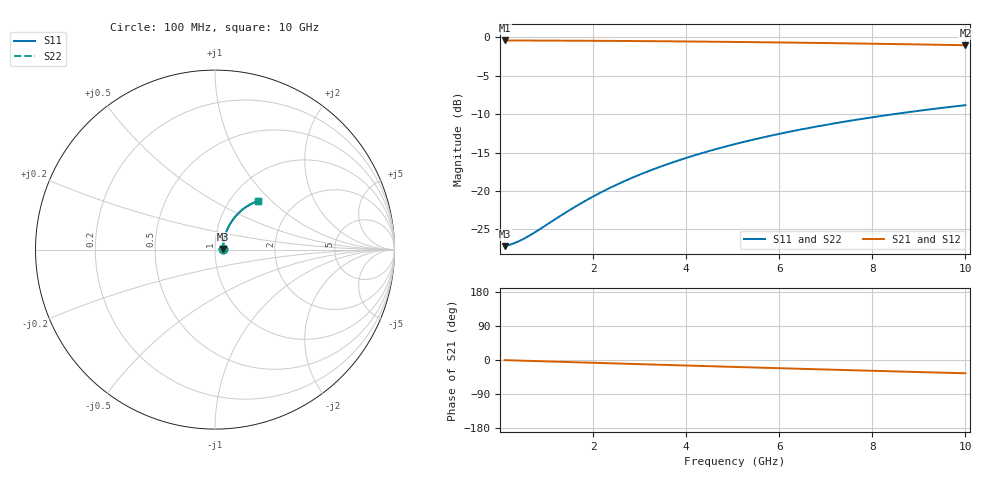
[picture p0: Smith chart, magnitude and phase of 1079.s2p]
# Hz S RI R 50.00
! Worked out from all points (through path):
!   100 points, 100 MHz to 10 GHz, reference 50 ohm
!   highest |S21| = -0.39 dB at 100 MHz (marker M1); lowest = -1.0 dB at 10 GHz (marker M2)
!   group delay of S21, straight-line fit = 9.76 ps
!   lowest |S11| = -27.2 dB at 100 MHz (marker M3), VSWR 1.09, Z = 54.5 + j0.41 ohm
!   |S11| at or under -10 dB: start of sweep to 8.452 GHz
!   |S22| runs from -27.2 to -8.8 dB; largest |S21 - S12| = 0
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1e8  0.0435 0.00375  0.9565 -0.00614  0.9565 -0.00614  0.0435 0.00375
2e8  0.0439 0.0075  0.9561 -0.0123  0.9561 -0.0123  0.0439 0.0075
3e8  0.0442 0.0112  0.9558 -0.0184  0.9558 -0.0184  0.0442 0.0112
4e8  0.0445 0.015  0.9554 -0.0245  0.9554 -0.0245  0.0445 0.015
6e8  0.0453 0.0224  0.9546 -0.0367  0.9546 -0.0367  0.0453 0.0224
8e8  0.0462 0.0299  0.9536 -0.0489  0.9536 -0.0489  0.0462 0.0299
1.4e9  0.0498 0.052  0.9496 -0.0854  0.9496 -0.0854  0.0498 0.052
1.8e9  0.0531 0.0665  0.946 -0.1094  0.946 -0.1094  0.0531 0.0665
2.2e9  0.0571 0.0808  0.9415 -0.1333  0.9415 -0.1333  0.0571 0.0808
2.6e9  0.0617 0.0949  0.9363 -0.1569  0.9363 -0.1569  0.0617 0.0949
3e9  0.0671 0.1086  0.9302 -0.1802  0.9302 -0.1802  0.0671 0.1086
3.4e9  0.0731 0.122  0.9235 -0.2032  0.9235 -0.2032  0.0731 0.122
3.8e9  0.0798 0.1351  0.916 -0.2258  0.916 -0.2258  0.0798 0.1351
4.2e9  0.087 0.1477  0.9078 -0.248  0.9078 -0.248  0.087 0.1477
4.6e9  0.0949 0.1599  0.8989 -0.2697  0.8989 -0.2697  0.0949 0.1599
5.1e9  0.1054 0.1744  0.8869 -0.2963  0.8869 -0.2963  0.1054 0.1744
5.9e9  0.124 0.1961  0.8657 -0.3372  0.8657 -0.3372  0.124 0.1961
6.7e9  0.1443 0.2156  0.8424 -0.3759  0.8424 -0.3759  0.1443 0.2156
7.5e9  0.1661 0.2328  0.8172 -0.4124  0.8172 -0.4124  0.1661 0.2328
8.4e9  0.192 0.2492  0.7869 -0.4507  0.7869 -0.4507  0.192 0.2492
9.2e9  0.216 0.2613  0.7587 -0.4822  0.7587 -0.4822  0.216 0.2613
1e10  0.2405 0.271  0.7294 -0.5113  0.7294 -0.5113  0.2405 0.271
